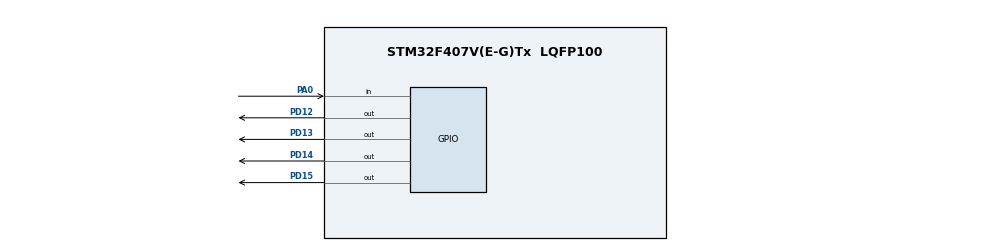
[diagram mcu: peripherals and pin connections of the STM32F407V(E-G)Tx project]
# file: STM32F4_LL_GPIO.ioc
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Mcu.Family=STM32F4
Mcu.Name=STM32F407V(E-G)Tx
Mcu.Package=LQFP100
NVIC.PriorityGroup=NVIC_PRIORITYGROUP_0
PA0-WKUP.Signal=GPIO_Input
PA13.Mode=Serial_Wire
PA13.Signal=SYS_JTMS-SWDIO
PA14.Mode=Serial_Wire
PA14.Signal=SYS_JTCK-SWCLK
PD12.Signal=GPIO_Output
PD13.Signal=GPIO_Output
PD14.Signal=GPIO_Output
PD15.Signal=GPIO_Output
PH0-OSC_IN.Mode=HSE-External-Oscillator
PH0-OSC_IN.Signal=RCC_OSC_IN
PH1-OSC_OUT.Mode=HSE-External-Oscillator
PH1-OSC_OUT.Signal=RCC_OSC_OUT
ProjectManager.HeapSize=0x200
ProjectManager.StackSize=0x400
ProjectManager.TargetToolchain=STM32CubeIDE
RCC.48MHZClocksFreq_Value=48000000
RCC.AHBFreq_Value=168000000
RCC.APB1CLKDivider=RCC_HCLK_DIV4
RCC.APB1Freq_Value=42000000
RCC.APB1TimFreq_Value=84000000
RCC.APB2CLKDivider=RCC_HCLK_DIV2
RCC.APB2Freq_Value=84000000
RCC.APB2TimFreq_Value=168000000
RCC.CortexFreq_Value=168000000
RCC.HCLKFreq_Value=168000000
RCC.HSE_VALUE=8000000
RCC.HSI_VALUE=16000000
RCC.LSE_VALUE=32768
RCC.PLLM=4
RCC.PLLN=168
RCC.PLLQ=7
RCC.PLLSourceVirtual=RCC_PLLSOURCE_HSE
RCC.SYSCLKFreq_VALUE=168000000
RCC.SYSCLKSource=RCC_SYSCLKSOURCE_PLLCLK
RCC.VCOOutputFreq_Value=336000000
board=STM32F407G-DISC1

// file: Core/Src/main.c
/* USER CODE BEGIN Header */
/**
 ******************************************************************************
 * @file           : main.c
 * @brief          : Main program body
 ******************************************************************************
 * @attention
 *
 * Copyright (c) 2022 STMicroelectronics.
 * All rights reserved.
 *
 * This software is licensed under terms that can be found in the LICENSE file
 * in the root directory of this software component.
 * If no LICENSE file comes with this software, it is provided AS-IS.
 *
 ******************************************************************************
 */
/* USER CODE END Header */
#include "main.h"
#include "gpio.h"

void SystemClock_Config(void);

int main(void)
{

  /* MCU Configuration--------------------------------------------------------*/

  /* Reset of all peripherals, Initializes the Flash interface and the Systick. */
  LL_APB2_GRP1_EnableClock(LL_APB2_GRP1_PERIPH_SYSCFG);
  LL_APB1_GRP1_EnableClock(LL_APB1_GRP1_PERIPH_PWR);

  /* System interrupt init*/
  NVIC_SetPriorityGrouping(NVIC_PRIORITYGROUP_0);

  /* Configure the system clock */
  SystemClock_Config();

  /* Initialize all configured peripherals */
  MX_GPIO_Init();
  /* USER CODE BEGIN 2 */

  // Useful gpio configuration LL api
  // LL_AHB1_GRP1_EnableClock
  // LL_GPIO_SetPinMode(GPIOx, Pin, Mode);
  // LL_GPIO_SetPinOutputType(GPIOx, PinMask, OutputType);
  // LL_GPIO_SetPinPull(GPIOx, Pin, Pull);
  // LL_GPIO_SetPinSpeed(GPIOx, Pin, Speed);

  /* USER CODE END 2 */

  /* Infinite loop */
  /* USER CODE BEGIN WHILE */
  while (1)
  {
    //read input pin
    if(LL_GPIO_IsInputPinSet(GPIOA, LL_GPIO_PIN_0) == 1)
    {
      //simple toggle pin
      LL_GPIO_TogglePin(GPIOD, LL_GPIO_PIN_12);
      LL_mDelay(50);
      LL_GPIO_TogglePin(GPIOD, LL_GPIO_PIN_12);
      LL_mDelay(50);

      LL_GPIO_TogglePin(GPIOD, LL_GPIO_PIN_13);
      LL_mDelay(50);
      LL_GPIO_TogglePin(GPIOD, LL_GPIO_PIN_13);
      LL_mDelay(50);

      LL_GPIO_TogglePin(GPIOD, LL_GPIO_PIN_14);
      LL_mDelay(50);
      LL_GPIO_TogglePin(GPIOD, LL_GPIO_PIN_14);
      LL_mDelay(50);

      //check output pin & toggle pin
      if(LL_GPIO_IsOutputPinSet(GPIOD, LL_GPIO_PIN_15))
      {
        LL_GPIO_ResetOutputPin(GPIOD, LL_GPIO_PIN_15);
      }
      else
      {
        LL_GPIO_SetOutputPin(GPIOD, LL_GPIO_PIN_15);
      }

      LL_mDelay(50);

      if(LL_GPIO_IsOutputPinSet(GPIOD, LL_GPIO_PIN_15))
      {
        LL_GPIO_ResetOutputPin(GPIOD, LL_GPIO_PIN_15);
      }
      else
      {
        LL_GPIO_SetOutputPin(GPIOD, LL_GPIO_PIN_15);
      }

      LL_mDelay(50);
    }

    /* USER CODE END WHILE */

  }
}

void SystemClock_Config(void)
{
  // configure flash latency
  LL_FLASH_SetLatency(LL_FLASH_LATENCY_5);
  while(LL_FLASH_GetLatency()!= LL_FLASH_LATENCY_5)
  {
  }

  // configure regulator
  LL_PWR_SetRegulVoltageScaling(LL_PWR_REGU_VOLTAGE_SCALE1);

  // HSE clock enable
  LL_RCC_HSE_Enable();

   /* Wait till HSE is ready */
  while(LL_RCC_HSE_IsReady() != 1)
  {

  }

  // configure PLL
  LL_RCC_PLL_ConfigDomain_SYS(LL_RCC_PLLSOURCE_HSE, LL_RCC_PLLM_DIV_4, 168, LL_RCC_PLLP_DIV_2);
  LL_RCC_PLL_Enable();

   /* Wait till PLL is ready */
  while(LL_RCC_PLL_IsReady() != 1)
  {

  }

  // configure prescaler values for each bus
  LL_RCC_SetAHBPrescaler(LL_RCC_SYSCLK_DIV_1);
  LL_RCC_SetAPB1Prescaler(LL_RCC_APB1_DIV_4);
  LL_RCC_SetAPB2Prescaler(LL_RCC_APB2_DIV_2);

  // configure system clock mux
  LL_RCC_SetSysClkSource(LL_RCC_SYS_CLKSOURCE_PLL);

   /* Wait till System clock is ready */
  while(LL_RCC_GetSysClkSource() != LL_RCC_SYS_CLKSOURCE_STATUS_PLL)
  {

  }

  // configure 1ms Systick
  LL_Init1msTick(168000000);

  // configure system clock value
  LL_SetSystemCoreClock(168000000);
}

void Error_Handler(void)
{
  __disable_irq();
  while (1)
  {
  }
}
